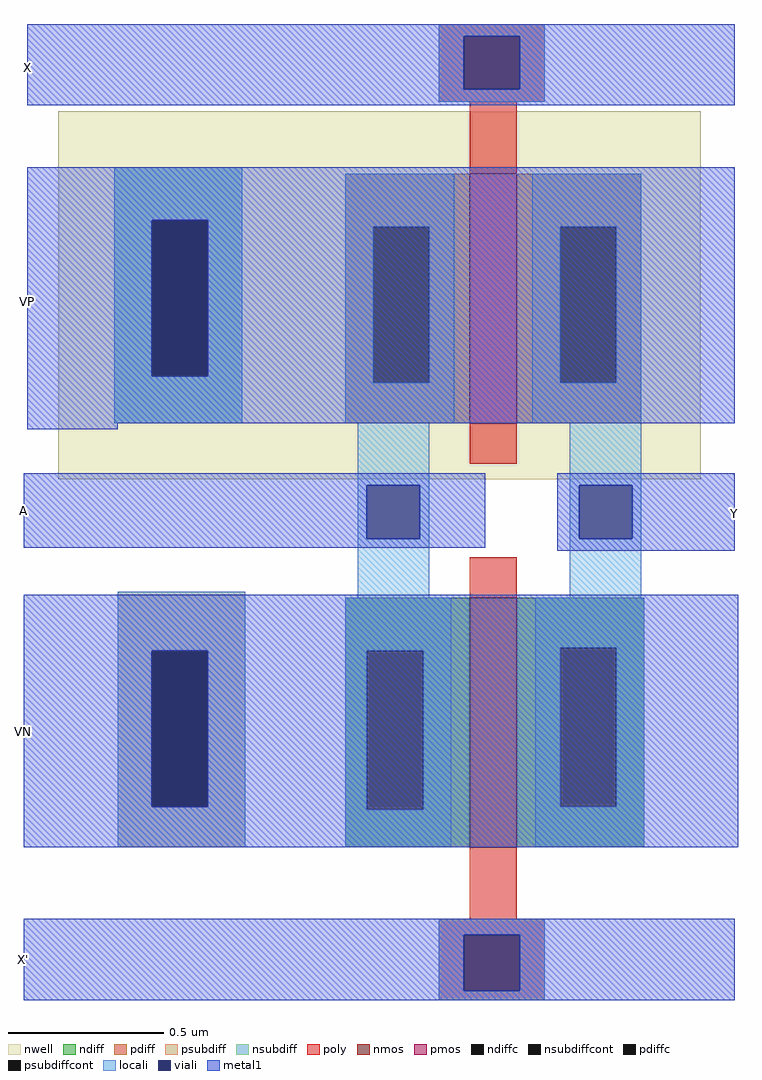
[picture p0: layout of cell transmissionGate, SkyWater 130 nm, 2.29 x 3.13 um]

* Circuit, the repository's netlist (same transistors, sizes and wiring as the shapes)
* SPICE3 file created from transmissionGate.ext - technology: sky130A

X0 Y a_n15_n195# A VN sky130_fd_pr__nfet_01v8 ad=0.328 pd=2.42 as=0.32 ps=2.4 w=0.8 l=0.15
X1 Y a_n15_93# A VP sky130_fd_pr__pfet_01v8 ad=0.32 pd=2.4 as=0.32 ps=2.4 w=0.8 l=0.15

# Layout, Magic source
magic
tech sky130A
<< nwell >>
rect -137 -28 69 90
<< nmos >>
rect -5 -146 10 -66
<< pmos >>
rect -5 -10 10 70
<< ndiff >>
rect -45 -83 -5 -66
rect -45 -134 -38 -83
rect -20 -134 -5 -83
rect -45 -146 -5 -134
rect 10 -82 51 -66
rect 10 -133 24 -82
rect 42 -133 51 -82
rect 10 -146 51 -133
<< pdiff >>
rect -45 53 -5 70
rect -45 3 -36 53
rect -18 3 -5 53
rect -45 -10 -5 3
rect 10 53 50 70
rect 10 3 24 53
rect 42 3 50 53
rect 10 -10 50 3
<< ndiffc >>
rect -38 -134 -20 -83
rect 24 -133 42 -82
<< pdiffc >>
rect -36 3 -18 53
rect 24 3 42 53
<< psubdiff >>
rect -118 -83 -77 -64
rect -118 -133 -107 -83
rect -89 -133 -77 -83
rect -118 -146 -77 -133
<< nsubdiff >>
rect -119 55 -78 72
rect -119 5 -107 55
rect -89 5 -78 55
rect -119 -10 -78 5
<< psubdiffcont >>
rect -107 -133 -89 -83
<< nsubdiffcont >>
rect -107 5 -89 55
<< poly >>
rect -15 93 19 118
rect -5 70 10 93
rect -5 -23 10 -10
rect -5 -66 10 -53
rect -5 -169 10 -146
rect -15 -195 19 -169
<< locali >>
rect -15 114 19 118
rect -15 97 -7 114
rect 11 97 19 114
rect -15 93 19 97
rect -119 55 -78 72
rect -119 5 -107 55
rect -89 5 -78 55
rect -119 -10 -78 5
rect -45 53 -10 70
rect -45 3 -36 53
rect -18 3 -10 53
rect -45 -10 -10 3
rect 15 53 50 70
rect 15 3 24 53
rect 42 3 50 53
rect 15 -10 50 3
rect -41 -30 -18 -10
rect -41 -47 -38 -30
rect -21 -47 -18 -30
rect -118 -83 -77 -64
rect -41 -66 -18 -47
rect 27 -30 50 -10
rect 27 -47 30 -30
rect 47 -47 50 -30
rect 27 -66 50 -47
rect -118 -133 -107 -83
rect -89 -133 -77 -83
rect -118 -146 -77 -133
rect -45 -83 -11 -66
rect -45 -134 -38 -83
rect -20 -134 -11 -83
rect -45 -146 -11 -134
rect 16 -82 51 -66
rect 16 -133 24 -82
rect 42 -133 51 -82
rect 16 -146 51 -133
rect -15 -174 19 -169
rect -15 -192 -7 -174
rect 11 -192 19 -174
rect -15 -195 19 -192
<< viali >>
rect -7 97 11 114
rect -107 5 -89 55
rect -38 -47 -21 -30
rect 30 -47 47 -30
rect -107 -133 -89 -83
rect -7 -192 11 -174
<< metal1 >>
rect -147 114 80 118
rect -147 97 -7 114
rect 11 97 80 114
rect -147 92 80 97
rect -147 55 80 72
rect -147 5 -107 55
rect -89 5 80 55
rect -147 -10 80 5
rect -147 -12 -118 -10
rect -148 -30 0 -26
rect -148 -47 -38 -30
rect -21 -47 0 -30
rect -148 -50 0 -47
rect 23 -30 80 -26
rect 23 -47 30 -30
rect 47 -47 80 -30
rect 23 -51 80 -47
rect -148 -83 81 -65
rect -148 -133 -107 -83
rect -89 -133 81 -83
rect -148 -146 81 -133
rect -148 -174 80 -169
rect -148 -192 -7 -174
rect 11 -192 80 -174
rect -148 -195 80 -192
<< labels >>
rlabel metal1 80 -39 80 -39 3 Y
port 6 e
rlabel metal1 -148 -182 -148 -182 7 X'
port 2 w
rlabel metal1 -147 104 -147 104 7 X
port 3 w
rlabel metal1 -148 -109 -148 -109 7 VN
port 1 w
rlabel metal1 -148 -38 -148 -38 7 A
port 4 w
rlabel metal1 -147 29 -147 29 7 VP
port 5 w
<< end >>
